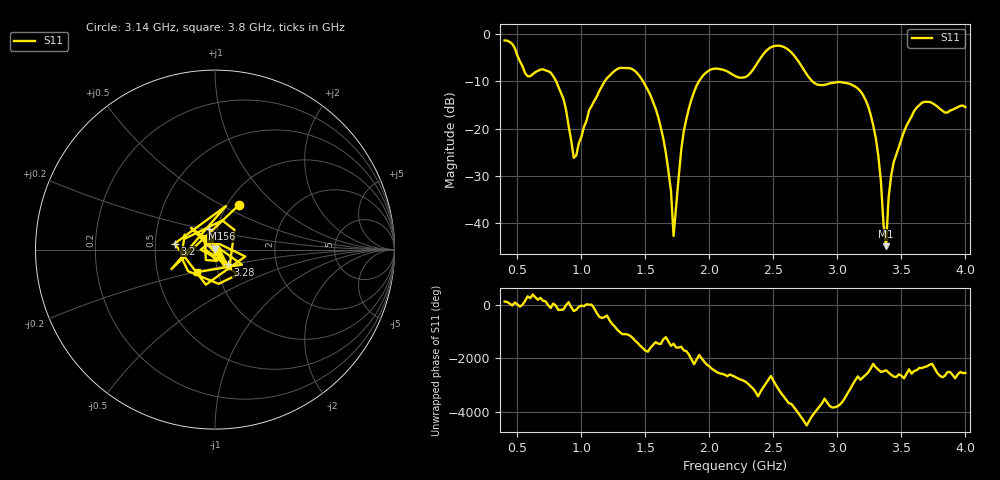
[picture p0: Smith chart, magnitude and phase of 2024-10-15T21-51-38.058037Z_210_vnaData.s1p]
! Created with skrf (http://scikit-rf.org).
# Hz S RI R 50.0
!freq ReS11 ImS11
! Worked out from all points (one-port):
!   181 points, 400 MHz to 4 GHz, reference 50 ohm
!   lowest |S11| = -44.9 dB at 3.38 GHz (marker M1), VSWR 1.01, Z = 50.2 + j0.542 ohm
!   |S11| at or under -10 dB: 803 MHz to 1.181 GHz (378.2 MHz wide, 38.1 % of centre); 1.482 GHz to 1.918 GHz (435.4 MHz wide, 25.6 % of centre); 2.806 GHz to end of sweep
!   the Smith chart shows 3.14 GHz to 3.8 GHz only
!   S11 on the Smith chart (normalised r, x): 3.14 GHz: 1.13, +0.60; 3.2 GHz: 0.63, +0.04; 3.28 GHz: 1.13, -0.19; 3.56 GHz: 0.91, +0.22; 3.8 GHz: 0.79, -0.20
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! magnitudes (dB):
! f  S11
! 400 MHz  -1.3
! 760 MHz  -8.1
! 860 MHz  -13.7
! 940 MHz  -26.2
! 1.06 GHz  -16.1
! 1.3 GHz  -7.1
! 1.44 GHz  -8.4
! 1.58 GHz  -15.8
! 1.66 GHz  -25.2
! 1.7 GHz  -33.2
! 1.72 GHz  -42.7
! 1.76 GHz  -30.2
! 1.8 GHz  -20.5
! 1.92 GHz  -9.9
! 2.2 GHz  -8.8
! 2.5 GHz  -2.5
! 2.66 GHz  -4.5
! 2.84 GHz  -10.6
! 3.1 GHz  -10.5
! 3.14 GHz  -11.1
! 3.2 GHz  -12.8
! 3.28 GHz  -19.3
! 3.32 GHz  -25.8
! 3.38 GHz  -44.9
! 3.42 GHz  -30.0
! 3.56 GHz  -18.4
! 3.8 GHz  -15.8
! 4 GHz  -15.4
